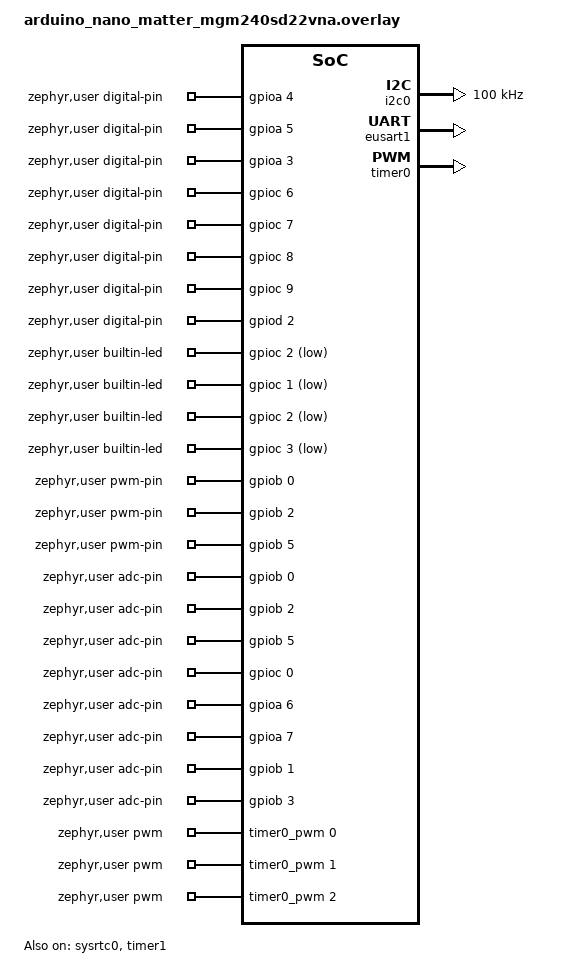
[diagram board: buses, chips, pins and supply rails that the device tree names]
/*
 * Copyright (c) Arduino s.r.l. and/or its affiliated companies
 *
 * SPDX-License-Identifier: Apache-2.0
 */

/* Arduino user sketch partition */
user_sketch: &slot1_partition {};

/ {
	zephyr,user {
		digital-pin-gpios = <&gpioa 4 0>, /* D0 */
				<&gpioa 5 0>, /* D1 */
				<&gpioa 3 0>, /* D2 */
				<&gpioc 6 0>, /* D3 */
				<&gpioc 7 0>, /* D4 */
				<&gpioc 8 0>, /* D5 */
				<&gpioc 9 0>, /* D6 */
				<&gpiod 2 0>, /* D7 */
				<&gpiod 3 0>, /* D8 */
				<&gpiod 4 0>, /* D9 */
				<&gpiod 5 0>, /* D10 */
				<&gpioa 9 0>, /* D11 */
				<&gpioa 8 0>, /* D12 */
				<&gpiob 4 0>, /* D13 */
				<&gpiob 0 0>, /* A0 */
				<&gpiob 2 0>, /* A1 */
				<&gpiob 5 0>, /* A2 */
				<&gpioc 0 0>, /* A3 */
				<&gpioa 6 0>, /* A4 */
				<&gpioa 7 0>, /* A5 */
				<&gpiob 1 0>, /* A6 */
				<&gpiob 3 0>, /* A7 */
				<&gpioc 1 0>, /* 22 LED R */
				<&gpioc 2 0>, /* 23 LED G */
				<&gpioc 3 0>, /* 24 LED B */
				<&gpioa 0 0>, /* 25 Button */
				<&gpioc 4 0>, /* 26 Serial Tx */
				<&gpioc 5 0>; /* 27 Serial Rx */

		builtin-led-gpios = <&gpioc 2 GPIO_ACTIVE_LOW>, /* 23 LED G */
							<&gpioc 1 GPIO_ACTIVE_LOW>, /* 22 LED R */
							<&gpioc 2 GPIO_ACTIVE_LOW>, /* 23 LED G */
							<&gpioc 3 GPIO_ACTIVE_LOW>; /* 24 LED B */

		pwm-pin-gpios =	<&gpiob 0 0>, /* A0 */
						<&gpiob 2 0>, /* A1 */
						<&gpiob 5 0>; /* A2 */

		adc-pin-gpios =	<&gpiob 0 0>, /* A0 */
				<&gpiob 2 0>, /* A1 */
				<&gpiob 5 0>, /* A2 */
				<&gpioc 0 0>, /* A3 */
				<&gpioa 6 0>, /* A4 */
				<&gpioa 7 0>, /* A5 */
				<&gpiob 1 0>, /* A6 */
				<&gpiob 3 0>; /* A7 */

		pwms = <&timer0_pwm 0 255 PWM_POLARITY_INVERTED>,
				<&timer0_pwm 1 255 PWM_POLARITY_INVERTED>,
				<&timer0_pwm 2 255 PWM_POLARITY_INVERTED>;

		serials = <&usart0>;
		i2cs = <&i2c0>;
		spis = <&eusart1>;
	};
};

&i2c0 {
	pinctrl-0 = <&i2c0_default>;
	pinctrl-names = "default";
	clock-frequency = <I2C_BITRATE_STANDARD>;
	status = "okay";
};

&pinctrl {
	eusart1_default: eusart1_default {
		group0 {
			pins = <EUSART1_TX_PA9>, <EUSART1_SCLK_PB4>;
			drive-push-pull;
			output-high;
		};

		group1 {
			pins = <EUSART1_RX_PA8>;
			input-enable;
			silabs,input-filter;
		};
	};
};

&eusart1 {
	compatible = "silabs,eusart-spi";
	#address-cells = <1>;
	#size-cells = <0>;
	clock-frequency = <4000000>;
	pinctrl-0 = <&eusart1_default>;
	pinctrl-names = "default";
	status = "okay";

	cs-gpios = <&gpiod 5 GPIO_ACTIVE_LOW>;
};

&timer0 {
	status = "okay";

	timer0_pwm: pwm {
		pinctrl-0 = <&timer0_default>;
		pinctrl-names = "default";
		status = "okay";
	};
};

&pinctrl {
	timer0_default: timer0_default {
		group0 {
			pins = <TIMER0_CC0_PB0>, <TIMER0_CC1_PB2>, <TIMER0_CC2_PB5>;
			drive-push-pull;
			output-high;
		};
	};
};

&sysrtc0 {
	status = "okay";
};

&timer1 {
	status = "okay";

	counter_servo: counter {
		status = "okay";
		label = "SERVO_COUNTER";
	};
};
